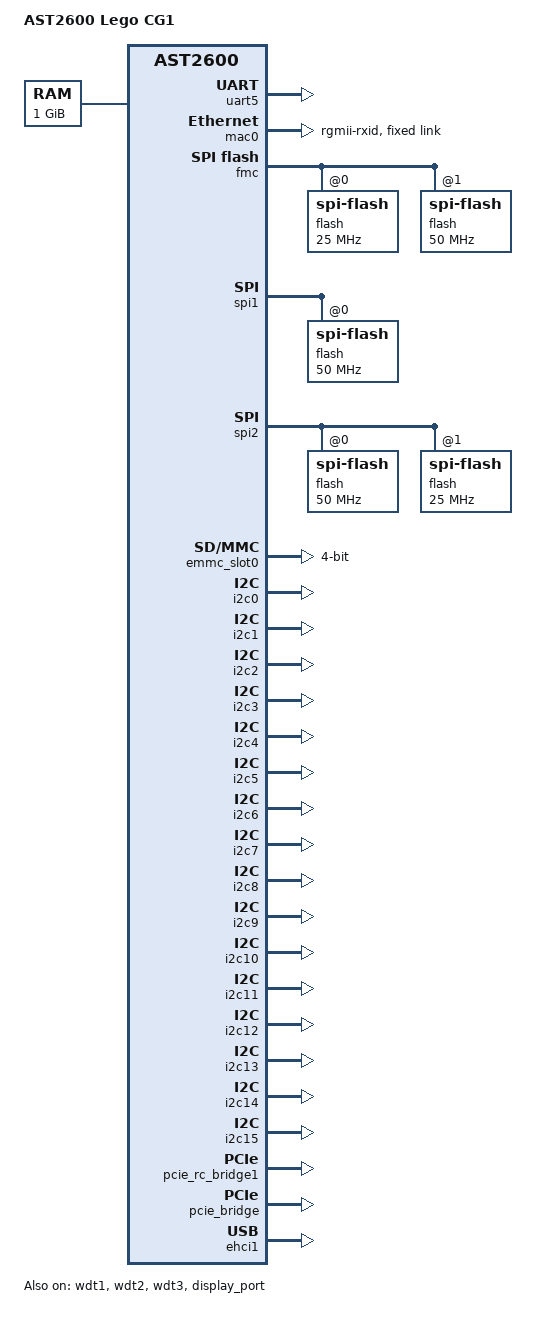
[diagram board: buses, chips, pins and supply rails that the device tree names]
/dts-v1/;

#include "ast2600-u-boot.dtsi"

/ {
        model = "AST2600 Lego CG1";
        compatible = "aspeed,ast2600-evb", "aspeed,ast2600";

	memory {
		device_type = "memory";
		reg = <0x80000000 0x40000000>;
	};

	chosen {
		stdout-path = &uart5;
	};

	aliases {
		mmc0 = &emmc_slot0;
		mmc1 = &sdhci_slot0;
		mmc2 = &sdhci_slot1;
		spi0 = &fmc;
		spi1 = &spi1;
		spi2 = &spi2;
		ethernet0 = &mac0;
		ethernet1 = &mac1;
		ethernet2 = &mac2;
		ethernet3 = &mac3;
	};

	cpus {
		cpu@0 {
			clock-frequency = <800000000>;
		};
		cpu@1 {
			clock-frequency = <800000000>;
		};
	};
};

&uart5 {
	u-boot,dm-pre-reloc;
	status = "okay";
};

&sdrammc {
	clock-frequency = <400000000>;
};

&wdt1 {
	status = "okay";
};

&wdt2 {
	status = "okay";
};

&wdt3 {
	status = "okay";
};


&mac0 {
	status = "okay";
	phy-mode = "rgmii-rxid";
	pinctrl-names = "default";
	pinctrl-0 = <&pinctrl_rgmii1_default &pinctrl_mac1link_default>;
        fixed-link {
        speed = <100>;
        full-duplex;
        };
};

&fmc {
	status = "okay";

	pinctrl-names = "default";
	pinctrl-0 = <&pinctrl_fmcquad_default>;

	flash@0 {
		compatible = "spi-flash", "sst,w25q256";
		status = "okay";
		spi-max-frequency = <25000000>;
		spi-tx-bus-width = <1>;
		spi-rx-bus-width = <1>;
	};

	flash@1 {
		compatible = "spi-flash", "sst,w25q256";
		status = "okay";
		spi-max-frequency = <50000000>;
		spi-tx-bus-width = <4>;
		spi-rx-bus-width = <4>;
	};

	flash@2 {
		compatible = "spi-flash", "sst,w25q256";
		status = "disabled";
		spi-max-frequency = <50000000>;
		spi-tx-bus-width = <4>;
		spi-rx-bus-width = <4>;
	};
};

&spi1 {
	status = "okay";
	pinctrl-names = "default";
	pinctrl-0 = <&pinctrl_spi1_default &pinctrl_spi1abr_default
			&pinctrl_spi1cs1_default &pinctrl_spi1wp_default
			&pinctrl_spi1wp_default &pinctrl_spi1quad_default>;

	flash@0 {
		compatible = "spi-flash", "sst,w25q256";
		status = "okay";
		spi-max-frequency = <50000000>;
		spi-tx-bus-width = <4>;
		spi-rx-bus-width = <4>;
	};

	flash@1 {
		compatible = "spi-flash", "sst,w25q256";
		status = "disabled";
		spi-max-frequency = <50000000>;
		spi-tx-bus-width = <4>;
		spi-rx-bus-width = <4>;
	};
};

&spi2 {
	status = "okay";

	pinctrl-names = "default";
	pinctrl-0 = <&pinctrl_spi2_default &pinctrl_spi2cs1_default
			&pinctrl_spi2quad_default>;
	flash@0 {
		compatible = "spi-flash", "sst,w25q256";
		status = "okay";
		spi-max-frequency = <50000000>;
		spi-tx-bus-width = <4>;
		spi-rx-bus-width = <4>;
	};

	flash@1 {
		compatible = "spi-flash", "sst,w25q256";
		status = "okay";
		spi-max-frequency = <25000000>;
		spi-tx-bus-width = <1>;
		spi-rx-bus-width = <1>;
	};

};

&emmc {
        u-boot,dm-pre-reloc;
        timing-phase = <0x000f0097>;
};
&emmc_slot0 {
        u-boot,dm-pre-reloc;
        status = "okay";
        bus-width = <4>;
        pinctrl-names = "default";
        pinctrl-0 = <&pinctrl_emmc_default>;
        sdhci-drive-type = <1>;
};

&i2c0 {
        status = "okay";
        pinctrl-names = "default";
        pinctrl-0 = <&pinctrl_i2c1_default>;
};
&i2c1 {
        status = "okay";
        pinctrl-names = "default";
        pinctrl-0 = <&pinctrl_i2c2_default>;
};
&i2c2 {
        status = "okay";
        pinctrl-names = "default";
        pinctrl-0 = <&pinctrl_i2c3_default>;
};
&i2c3 {
        status = "okay";
        pinctrl-names = "default";
        pinctrl-0 = <&pinctrl_i2c4_default>;
};



&i2c4 {
	status = "okay";

	pinctrl-names = "default";
	pinctrl-0 = <&pinctrl_i2c5_default>;
};

&i2c5 {
	status = "okay";

	pinctrl-names = "default";
	pinctrl-0 = <&pinctrl_i2c6_default>;
};

&i2c6 {
	status = "okay";

	pinctrl-names = "default";
	pinctrl-0 = <&pinctrl_i2c7_default>;
};

&i2c7 {
	status = "okay";

	pinctrl-names = "default";
	pinctrl-0 = <&pinctrl_i2c8_default>;
};

&i2c8 {
	status = "okay";

	pinctrl-names = "default";
	pinctrl-0 = <&pinctrl_i2c9_default>;
};

&i2c9 {
        status = "okay";
        pinctrl-names = "default";
        pinctrl-0 = <&pinctrl_i2c10_default>;
};

&i2c10 {
	status = "okay";

	pinctrl-names = "default";
	pinctrl-0 = <&pinctrl_i2c11_default>;
};

&i2c11 {
        status = "okay";
        pinctrl-names = "default";
        pinctrl-0 = <&pinctrl_i2c12_default>;
};
&i2c12 {
        status = "okay";
        pinctrl-names = "default";
        pinctrl-0 = <&pinctrl_i2c13_default>;
};
&i2c13 {
        status = "okay";
        pinctrl-names = "default";
        pinctrl-0 = <&pinctrl_i2c14_default>;
};
&i2c14 {
        status = "okay";
        pinctrl-names = "default";
        pinctrl-0 = <&pinctrl_i2c15_default>;
};
&i2c15 {
        status = "okay";
        pinctrl-names = "default";
        pinctrl-0 = <&pinctrl_i2c16_default>;
};

&pcie_rc_bridge1 {
	status = "okay";
};

&pcie_bridge {
	status = "okay";
};

#if 0
&h2x {
	status = "okay";
};
#endif

&ehci1 {
	status = "okay";
};

&scu {
	mac0-clk-delay = <0x10 0x0a
			  0x10 0x10
			  0x10 0x10>;
	mac1-clk-delay = <0x10 0x0a
			  0x10 0x10
			  0x10 0x10>;
	mac2-clk-delay = <0x08 0x04
			  0x08 0x04
			  0x08 0x04>;
	mac3-clk-delay = <0x08 0x04
			  0x08 0x04
			  0x08 0x04>;
};

&display_port {
    status = "okay";
    i2c-base-addr = <0x1e78a500>;
    i2c-buf-addr = <0x1e78ad20>;
    dev-addr = <0x77>;
    pinctrl-names = "default";
    pinctrl-0 = <&pinctrl_i2c10_default>;
    eq-table = <0x00000022 0x00040022 0x000b0022 
                0x00050000 0x000b0000 0x000d0000
                0x00090011 0x000f0011 0x000f0011>;
};


